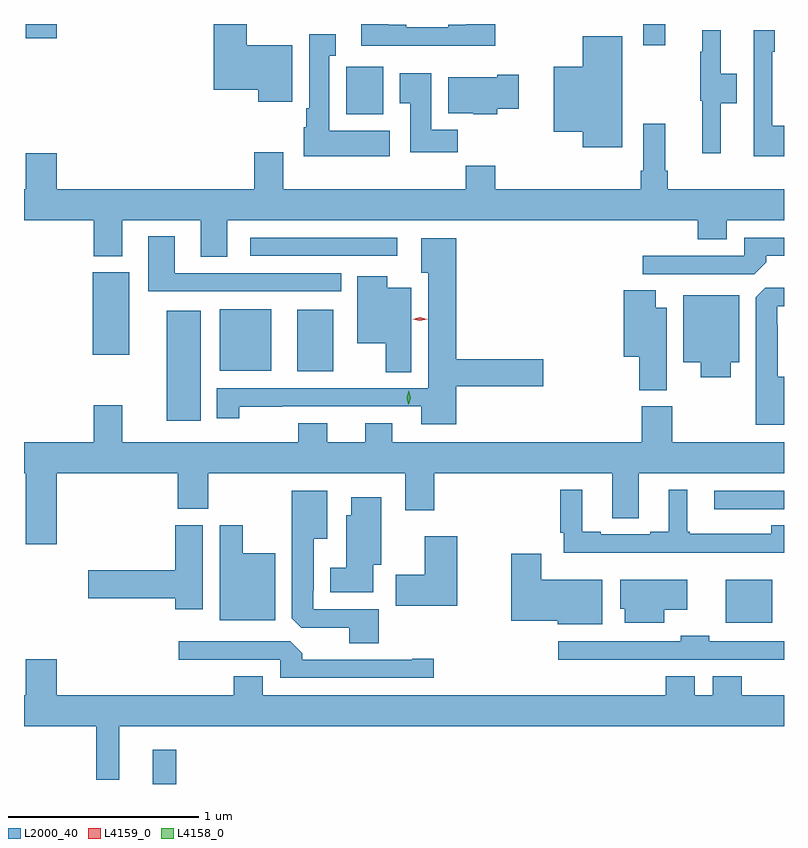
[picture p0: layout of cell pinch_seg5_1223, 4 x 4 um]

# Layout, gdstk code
import gdstk
lib = gdstk.Library(unit=1e-6, precision=1e-09)
def R(c, l, rs):  # rectangles x0, y0, x1, y1
    for r in rs: c.add(gdstk.rectangle(r[:2], r[2:], *l))
def P(c, l, *ps):  # polygons
    for p in ps: c.add(gdstk.Polygon(p, *l))
L2000_40 = (2000, 40)
L4158_0 = (4158, 0)
L4159_0 = (4159, 0)

pinch_seg5_1223 = lib.new_cell('pinch_seg5_1223')
R(pinch_seg5_1223, L2000_40, [(417.425,888.425,417.547,888.604), (420.44,889.274,420.685,889.501), (420.381,889.872,420.747,889.968), (417.497,890.336,417.676,890.917), (418.184,890.597,418.375,890.92), (417.776,890.6,418.048,890.923), (417.11,890.684,417.301,891.118), (417.939,891.204,418.711,891.3), (418.443,891.95,418.639,892.2), (420.005,892.314,420.121,892.425), (416.756,892.35,416.92,892.425)])
P(pinch_seg5_1223, L2000_40, [(419.228,892.425),(419.075,892.425),(419.075,892.42),(418.979,892.42),(418.979,892.407),(418.759,892.407),(418.759,892.42),(418.663,892.42),(418.663,892.425),(418.523,892.425),(418.523,892.31),(419.228,892.31)],
  [(418.159,892.312),(417.919,892.312),(417.919,892.425),(417.746,892.425),(417.746,892.079),(417.98,892.079),(417.98,892.016),(418.159,892.016)],
  [(420.415,892.009),(420.499,892.009),(420.499,892.164),(420.415,892.164),(420.415,892.393),(420.317,892.393),(420.317,892.28),(420.306,892.28),(420.306,892.02),(420.317,892.02),(420.317,891.744),(420.415,891.744)],
  [(420.747,891.889),(420.684,891.889),(420.684,892.28),(420.697,892.28),(420.697,892.393),(420.588,892.393),(420.588,891.728),(420.747,891.728)],
  [(418.672,891.862),(418.354,891.862),(418.354,892.259),(418.387,892.259),(418.387,892.372),(418.247,892.372),(418.247,891.982),(418.232,891.982),(418.232,891.882),(418.22,891.882),(418.22,891.728),(418.672,891.728)],
  [(419.896,892.36),(419.687,892.36),(419.687,892.201),(419.534,892.201),(419.534,891.857),(419.687,891.857),(419.687,891.776),(419.896,891.776)],
  [(419.03,891.868),(418.891,891.868),(418.891,892.165),(418.724,892.165),(418.724,892.009),(418.781,892.009),(418.781,891.75),(419.03,891.75)],
  [(419.238,891.979),(419.35,891.979),(419.35,892.157),(419.237,892.157),(419.237,892.144),(418.979,892.144),(418.979,891.956),(419.112,891.956),(419.112,891.95),(419.238,891.95)],
  [(417.817,891.392),(420.293,891.392),(420.293,891.293),(420.445,891.293),(420.445,891.392),(420.747,891.392),(420.747,891.556),(420.134,891.556),(420.134,891.652),(420.121,891.652),(420.121,891.901),(420.005,891.901),(420.005,891.652),(419.993,891.652),(419.993,891.556),(419.228,891.556),(419.228,891.68),(419.071,891.68),(419.071,891.556),(418.111,891.556),(418.111,891.751),(417.959,891.751),(417.959,891.556),(416.92,891.556),(416.92,891.745),(416.756,891.745),(416.756,891.556),(416.747,891.556),(416.747,891.392),(417.113,891.392),(417.113,891.203),(417.265,891.203),(417.265,891.392),(417.677,891.392),(417.677,891.199),(417.817,891.199)],
  [(418.417,891.114),(417.541,891.114),(417.541,891.307),(417.401,891.307),(417.401,891.018),(418.417,891.018)],
  [(420.653,891.17),(420.653,891.204),(420.747,891.204),(420.747,891.3),(420.537,891.3),(420.537,891.204),(420.003,891.204),(420.003,891.108),(420.591,891.108)],
  [(419.021,890.518),(419.479,890.518),(419.479,890.66),(419.021,890.66),(419.021,891.298),(418.838,891.298),(418.838,891.116),(418.874,891.116),(418.874,890.508),(417.761,890.508),(417.761,890.349),(417.879,890.349),(417.879,890.411),(418.106,890.411),(418.106,890.412),(418.838,890.412),(418.838,890.318),(419.021,890.318)],
  [(418.786,891.037),(418.66,891.037),(418.66,891.097),(418.502,891.097),(418.502,890.744),(418.652,890.744),(418.652,890.593),(418.786,890.593)],
  [(420.747,890.569),(420.715,890.569),(420.715,890.843),(420.711,890.843),(420.711,890.94),(420.747,890.94),(420.747,891.036),(420.648,891.036),(420.599,890.987),(420.599,890.315),(420.747,890.315)],
  [(420.13,890.932),(420.073,890.932),(420.073,891.023),(419.903,891.023),(419.903,890.675),(419.984,890.675),(419.984,890.497),(420.13,890.497)],
  [(420.466,890.645),(420.511,890.645),(420.511,890.998),(420.218,890.998),(420.218,890.645),(420.308,890.645),(420.308,890.567),(420.466,890.567)],
  [(417.265,890.419),(417.113,890.419),(417.113,890.224),(416.747,890.224),(416.747,890.06),(416.756,890.06),(416.756,889.686),(416.92,889.686),(416.92,890.06),(417.557,890.06),(417.557,889.873),(417.717,889.873),(417.717,890.06),(418.754,890.06),(418.754,889.866),(418.907,889.866),(418.907,890.06),(419.843,890.06),(419.843,889.825),(419.983,889.825),(419.983,890.06),(420.747,890.06),(420.747,890.224),(420.159,890.224),(420.159,890.412),(419.999,890.412),(419.999,890.224),(418.684,890.224),(418.684,890.323),(418.544,890.323),(418.544,890.224),(418.342,890.224),(418.342,890.323),(418.19,890.323),(418.19,890.224),(417.265,890.224)],
  [(420.747,889.787),(420.68,889.787),(420.68,889.741),(420.25,889.741),(420.25,889.753),(420.238,889.753),(420.238,889.975),(420.14,889.975),(420.14,889.753),(420.044,889.753),(420.044,889.74),(419.782,889.74),(419.782,889.753),(419.686,889.753),(419.686,889.975),(419.569,889.975),(419.569,889.747),(419.589,889.747),(419.589,889.643),(420.747,889.643)],
  [(418.613,889.344),(418.269,889.344),(418.269,889.441),(418.273,889.441),(418.273,889.715),(418.342,889.715),(418.342,889.969),(418.157,889.969),(418.157,889.297),(418.206,889.248),(418.46,889.248),(418.46,889.165),(418.613,889.165)],
  [(418.585,889.58),(418.627,889.58),(418.627,889.933),(418.469,889.933),(418.469,889.839),(418.442,889.839),(418.442,889.564),(418.358,889.564),(418.358,889.433),(418.585,889.433)],
  [(417.688,889.788),(417.542,889.788),(417.542,889.55),(417.084,889.55),(417.084,889.403),(417.542,889.403),(417.542,889.344),(417.688,889.344)],
  [(418.069,889.639),(417.898,889.639),(417.898,889.786),(417.776,889.786),(417.776,889.286),(418.069,889.286)],
  [(419.026,889.729),(418.856,889.729),(418.856,889.527),(418.704,889.527),(418.704,889.364),(419.026,889.364)],
  [(419.791,889.501),(419.47,889.501),(419.47,889.636),(419.312,889.636),(419.312,889.283),(419.556,889.283),(419.556,889.265),(419.791,889.265)],
  [(420.118,889.343),(420.238,889.343),(420.238,889.501),(419.885,889.501),(419.885,889.347),(419.909,889.347),(419.909,889.274),(420.118,889.274)],
  [(420.104,889.08),(420.607,889.08),(420.607,889.079),(420.747,889.079),(420.747,889.176),(420.354,889.176),(420.354,889.204),(420.204,889.204),(420.204,889.176),(419.559,889.176),(419.559,889.079),(420.104,889.079)],
  [(418.903,889.085),(418.79,889.085),(418.79,889.08),(418.211,889.08),(418.211,889.114),(418.149,889.176),(417.561,889.176),(417.561,889.08),(418.095,889.08),(418.095,888.984),(418.903,888.984)],
  [(417.247,888.728),(420.747,888.728),(420.747,888.892),(420.524,888.892),(420.524,888.991),(420.371,888.991),(420.371,888.892),(420.277,888.892),(420.277,888.991),(420.125,888.991),(420.125,888.892),(418.003,888.892),(418.003,888.991),(417.851,888.991),(417.851,888.892),(416.92,888.892),(416.92,889.081),(416.756,889.081),(416.756,888.892),(416.747,888.892),(416.747,888.728),(417.126,888.728),(417.126,888.447),(417.247,888.447)])
P(pinch_seg5_1223, L4158_0, [(418.77,890.423),(418.762,890.459),(418.772,890.494),(418.772,890.495),(418.773,890.494),(418.782,890.458),(418.771,890.423),(418.771,890.423)])
P(pinch_seg5_1223, L4159_0, [(418.831,890.862),(418.792,890.872),(418.792,890.872),(418.792,890.872),(418.831,890.882),(418.87,890.872),(418.87,890.872),(418.87,890.872)])

lib.write_gds('pinch_seg5_1223.gds')
